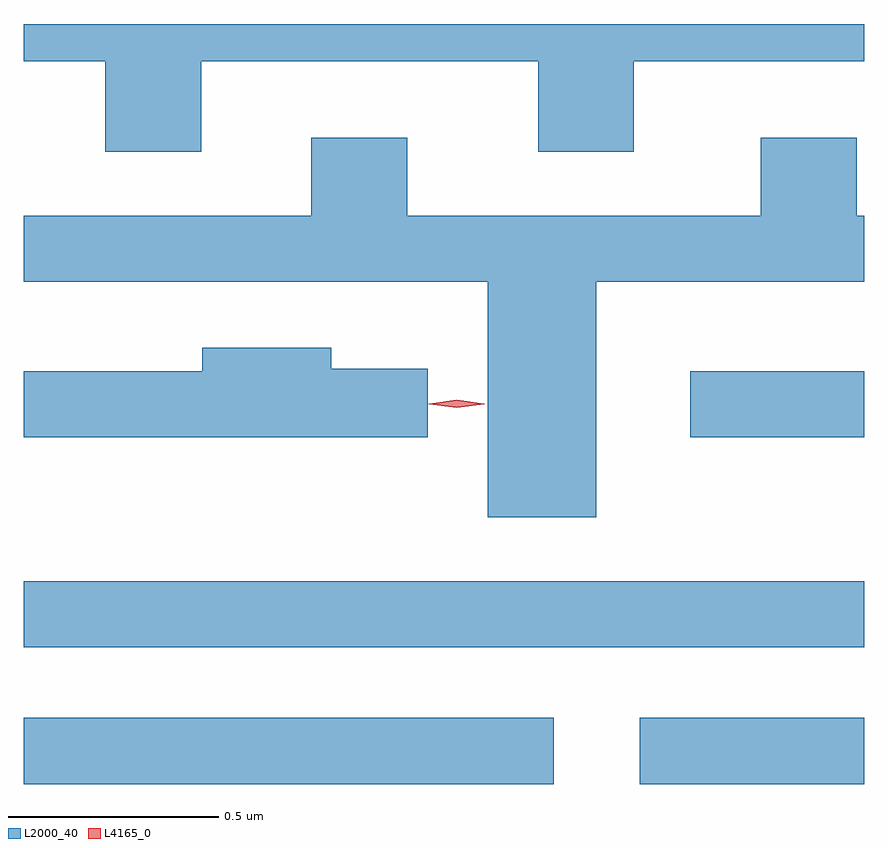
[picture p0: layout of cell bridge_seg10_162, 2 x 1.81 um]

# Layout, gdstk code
import gdstk
lib = gdstk.Library(unit=1e-6, precision=1e-09)
def R(c, l, rs):  # rectangles x0, y0, x1, y1
    for r in rs: c.add(gdstk.rectangle(r[:2], r[2:], *l))
def P(c, l, *ps):  # polygons
    for p in ps: c.add(gdstk.Polygon(p, *l))
L2000_40 = (2000, 40)
L4165_0 = (4165, 0)

bridge_seg10_162 = lib.new_cell('bridge_seg10_162')
R(bridge_seg10_162, L2000_40, [(1496.127,2145.496,1497.388,2145.654), (1497.593,2145.496,1498.127,2145.654), (1496.127,2145.821,1498.127,2145.979), (1497.713,2146.321,1498.127,2146.479)])
P(bridge_seg10_162, L2000_40, [(1496.549,2147.216),(1497.351,2147.216),(1497.351,2147.001),(1497.579,2147.001),(1497.579,2147.216),(1498.127,2147.216),(1498.127,2147.305),(1496.127,2147.305),(1496.127,2147.216),(1496.321,2147.216),(1496.321,2147.001),(1496.549,2147.001)],
  [(1497.489,2146.691),(1498.127,2146.691),(1498.127,2146.849),(1498.109,2146.849),(1498.109,2147.034),(1497.881,2147.034),(1497.881,2146.849),(1497.039,2146.849),(1497.039,2147.034),(1496.811,2147.034),(1496.811,2146.849),(1496.127,2146.849),(1496.127,2146.691),(1497.231,2146.691),(1497.231,2146.131),(1497.489,2146.131)],
  [(1497.088,2146.484),(1496.859,2146.484),(1496.859,2146.534),(1496.551,2146.534),(1496.551,2146.479),(1496.127,2146.479),(1496.127,2146.321),(1497.088,2146.321)])
P(bridge_seg10_162, L4165_0, [(1497.157,2146.391),(1497.092,2146.4),(1497.091,2146.401),(1497.092,2146.401),(1497.157,2146.411),(1497.223,2146.401),(1497.224,2146.401),(1497.223,2146.4)])

lib.write_gds('bridge_seg10_162.gds')
